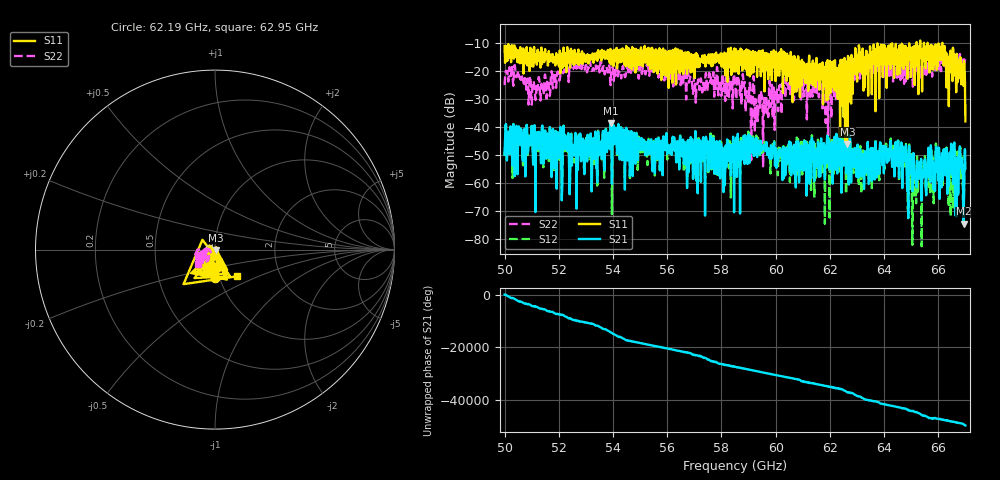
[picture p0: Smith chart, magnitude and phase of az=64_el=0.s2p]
!Created with skrf (http://scikit-rf.org).
# GHz S RI R 50.0
!freq ReS11 ImS11 ReS21 ImS21 ReS12 ImS12 ReS22 ImS22
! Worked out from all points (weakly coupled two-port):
!   1001 points, 50 GHz to 67 GHz, reference 50 ohm
!   highest |S21| = -38.69 dB at 53.91 GHz (marker M1); lowest = -74.7 dB at 66.93 GHz (marker M2)
!   lowest |S11| = -46.1 dB at 62.65 GHz (marker M3), VSWR 1.01, Z = 50.4 - j0.224 ohm
!   |S11| at or under -10 dB: start of sweep to 65.2 GHz; 65.61 GHz to 66.14 GHz (537.8 MHz wide, 0.816 % of centre); 66.15 GHz to end of sweep (the widest 3 of 6)
!   |S22| runs from -54.1 to -13.9 dB; largest |S21 - S12| = 0.0022
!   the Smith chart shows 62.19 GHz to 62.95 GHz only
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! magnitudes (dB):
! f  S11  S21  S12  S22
! 50 GHz  -11.0  -50.0  -50.3  -25.0
! 50.42 GHz  -15.0  -40.5  -40.6  -22.1
! 51.07 GHz  -13.6  -49.9  -49.1  -23.5
! 52.84 GHz  -14.6  -47.0  -47.9  -19.3
! 53.91 GHz  -12.0  -38.7  -38.8  -25.0
! 55.68 GHz  -14.3  -44.0  -43.4  -22.3
! 58.5 GHz  -20.1  -46.1  -48.3  -24.5
! 59.61 GHz  -13.5  -46.9  -48.9  -34.1
! 60.34 GHz  -13.4  -48.3  -48.2  -24.7
! 61.34 GHz  -24.3  -43.9  -42.9  -25.8
! 62 GHz  -16.4  -48.6  -49.1  -24.8
! 62.65 GHz  -46.1  -49.5  -47.1  -23.1
! 63.01 GHz  -23.7  -50.2  -47.0  -20.0
! 64.18 GHz  -17.5  -52.0  -50.8  -18.6
! 64.72 GHz  -19.3  -48.7  -50.8  -19.0
! 65.11 GHz  -11.0  -55.8  -54.7  -16.6
! 66 GHz  -10.2  -59.2  -58.8  -16.5
! 66.51 GHz  -15.5  -57.2  -54.1  -16.9
! 66.69 GHz  -16.8  -57.4  -52.8  -15.6
! 66.78 GHz  -18.4  -49.0  -50.3  -14.8
! 66.93 GHz  -25.3  -74.7  -71.3  -15.3
! 67 GHz  -38.0  -54.9  -50.7  -15.8
